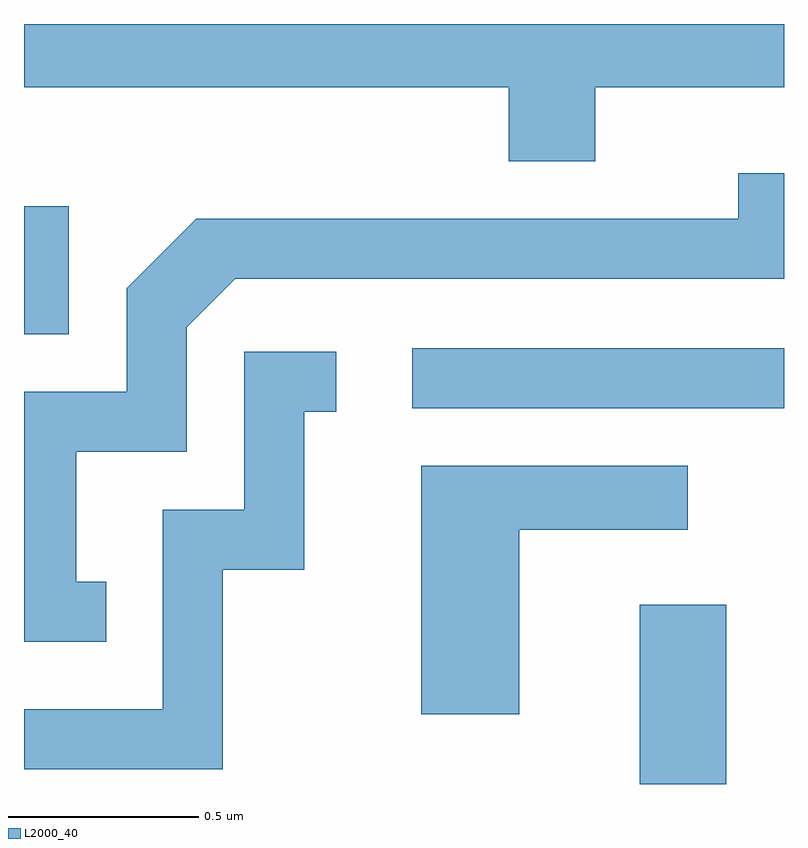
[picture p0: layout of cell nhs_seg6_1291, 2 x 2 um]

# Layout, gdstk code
import gdstk
lib = gdstk.Library(unit=1e-6, precision=1e-09)
def R(c, l, rs):  # rectangles x0, y0, x1, y1
    for r in rs: c.add(gdstk.rectangle(r[:2], r[2:], *l))
def P(c, l, *ps):  # polygons
    for p in ps: c.add(gdstk.Polygon(p, *l))
L2000_40 = (2000, 40)

nhs_seg6_1291 = lib.new_cell('nhs_seg6_1291')
R(nhs_seg6_1291, L2000_40, [(196.231,1588.162,196.459,1588.634), (195.633,1589.151,196.611,1589.309), (194.611,1589.346,194.729,1589.683)])
P(nhs_seg6_1291, L2000_40, [(196.114,1589.996),(196.611,1589.996),(196.611,1590.162),(194.611,1590.162),(194.611,1589.996),(195.886,1589.996),(195.886,1589.801),(196.114,1589.801)],
  [(194.828,1588.694),(194.749,1588.694),(194.749,1589.036),(195.039,1589.036),(195.039,1589.364),(195.167,1589.491),(196.611,1589.491),(196.611,1589.769),(196.491,1589.769),(196.491,1589.649),(195.064,1589.649),(194.881,1589.467),(194.881,1589.194),(194.611,1589.194),(194.611,1588.536),(194.828,1588.536)],
  [(195.134,1588.726),(195.349,1588.726),(195.349,1589.141),(195.433,1589.141),(195.433,1589.299),(195.191,1589.299),(195.191,1588.884),(194.976,1588.884),(194.976,1588.359),(194.611,1588.359),(194.611,1588.201),(195.134,1588.201)],
  [(195.914,1588.831),(196.358,1588.831),(196.358,1588.999),(195.656,1588.999),(195.656,1588.346),(195.914,1588.346)])

lib.write_gds('nhs_seg6_1291.gds')
